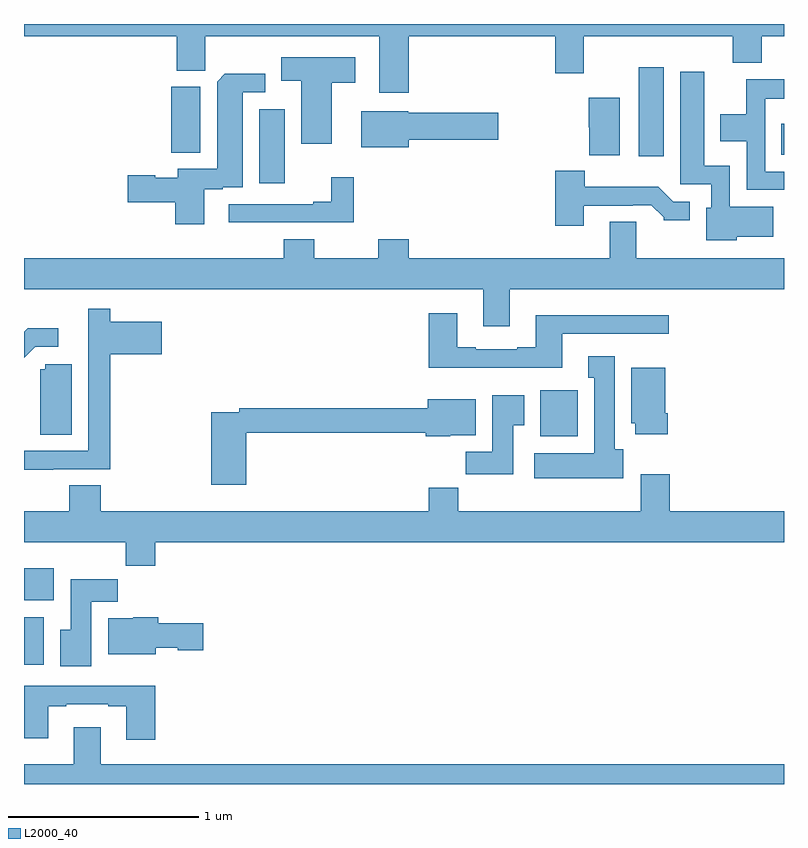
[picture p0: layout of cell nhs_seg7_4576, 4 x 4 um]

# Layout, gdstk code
import gdstk
lib = gdstk.Library(unit=1e-6, precision=1e-09)
def R(c, l, rs):  # rectangles x0, y0, x1, y1
    for r in rs: c.add(gdstk.rectangle(r[:2], r[2:], *l))
def P(c, l, *ps):  # polygons
    for p in ps: c.add(gdstk.Polygon(p, *l))
L2000_40 = (2000, 40)

nhs_seg7_4576 = lib.new_cell('nhs_seg7_4576')
R(nhs_seg7_4576, L2000_40, [(399,1010.628,399.103,1010.878), (399,1010.966,399.157,1011.136), (401.717,1011.83,401.914,1012.072), (400.238,1013.162,400.372,1013.551), (402.236,1013.304,402.367,1013.773), (402.985,1013.312,403,1013.476), (399.776,1013.323,399.928,1013.67)])
P(nhs_seg7_4576, L2000_40, [(401.024,1013.936),(401.795,1013.936),(401.795,1013.742),(401.947,1013.742),(401.947,1013.936),(402.731,1013.936),(402.731,1013.795),(402.883,1013.795),(402.883,1013.936),(403,1013.936),(403,1014),(399,1014),(399,1013.936),(399.803,1013.936),(399.803,1013.755),(399.953,1013.755),(399.953,1013.936),(400.871,1013.936),(400.871,1013.637),(401.024,1013.637)],
  [(400.621,1013.69),(400.744,1013.69),(400.744,1013.824),(400.354,1013.824),(400.354,1013.702),(400.46,1013.702),(400.46,1013.37),(400.621,1013.37)],
  [(402.75,1012.88),(402.943,1012.88),(402.943,1013.038),(402.714,1013.038),(402.714,1013.254),(402.58,1013.254),(402.58,1013.749),(402.455,1013.749),(402.455,1013.157),(402.618,1013.157),(402.618,1013.034),(402.59,1013.034),(402.59,1012.862),(402.75,1012.862)],
  [(399.949,1013.13),(400.046,1013.13),(400.046,1013.142),(400.15,1013.142),(400.15,1013.64),(400.269,1013.64),(400.269,1013.738),(400.057,1013.738),(400.016,1013.696),(400.016,1013.238),(399.809,1013.238),(399.809,1013.191),(399.692,1013.191),(399.692,1013.204),(399.546,1013.204),(399.546,1013.062),(399.797,1013.062),(399.797,1012.947),(399.949,1012.947)],
  [(403,1013.223),(402.9,1013.223),(402.9,1013.606),(403,1013.606),(403,1013.71),(402.802,1013.71),(402.802,1013.524),(402.665,1013.524),(402.665,1013.384),(402.804,1013.384),(402.804,1013.127),(403,1013.127)],
  [(402.136,1013.611),(401.972,1013.611),(401.972,1013.457),(401.974,1013.457),(401.974,1013.309),(402.136,1013.309)],
  [(401.026,1013.39),(401.497,1013.39),(401.497,1013.532),(401.022,1013.532),(401.022,1013.542),(400.775,1013.542),(400.775,1013.351),(401.026,1013.351)],
  [(401.947,1013.043),(402.203,1013.043),(402.203,1013.046),(402.302,1013.046),(402.366,1012.982),(402.366,1012.967),(402.505,1012.967),(402.505,1013.064),(402.417,1013.064),(402.339,1013.143),(401.95,1013.143),(401.95,1013.227),(401.795,1013.227),(401.795,1012.938),(401.947,1012.938)],
  [(400.736,1013.194),(400.618,1013.194),(400.618,1013.065),(400.523,1013.065),(400.523,1013.052),(400.077,1013.052),(400.077,1012.956),(400.736,1012.956)],
  [(401.557,1012.604),(403,1012.604),(403,1012.768),(402.223,1012.768),(402.223,1012.958),(402.083,1012.958),(402.083,1012.768),(401.024,1012.768),(401.024,1012.867),(400.864,1012.867),(400.864,1012.768),(400.527,1012.768),(400.527,1012.867),(400.367,1012.867),(400.367,1012.768),(399,1012.768),(399,1012.604),(401.417,1012.604),(401.417,1012.41),(401.557,1012.41)],
  [(399.155,1011.657),(399.455,1011.657),(399.455,1012.262),(399.724,1012.262),(399.724,1012.432),(399.455,1012.432),(399.455,1012.501),(399.338,1012.501),(399.338,1012.278),(399.339,1012.278),(399.339,1011.753),(399,1011.753),(399,1011.655),(399.155,1011.655)],
  [(401.833,1012.371),(402.394,1012.371),(402.394,1012.468),(401.693,1012.468),(401.693,1012.3),(401.597,1012.3),(401.597,1012.287),(401.377,1012.287),(401.377,1012.3),(401.281,1012.3),(401.281,1012.477),(401.129,1012.477),(401.129,1012.19),(401.833,1012.19)],
  [(399.06,1012.302),(399.181,1012.302),(399.181,1012.399),(399.019,1012.399),(399,1012.38),(399,1012.243)],
  [(402.154,1011.762),(402.109,1011.762),(402.109,1012.252),(401.969,1012.252),(401.969,1012.139),(402.002,1012.139),(402.002,1011.742),(401.685,1011.742),(401.685,1011.608),(402.154,1011.608)],
  [(399.25,1012.209),(399.111,1012.209),(399.111,1012.182),(399.086,1012.182),(399.086,1011.838),(399.25,1011.838)],
  [(402.389,1011.952),(402.376,1011.952),(402.376,1012.192),(402.197,1012.192),(402.197,1011.9),(402.218,1011.9),(402.218,1011.84),(402.389,1011.84)],
  [(401.575,1011.889),(401.632,1011.889),(401.632,1012.045),(401.465,1012.045),(401.465,1011.748),(401.326,1011.748),(401.326,1011.63),(401.575,1011.63)],
  [(400.169,1011.849),(401.114,1011.849),(401.114,1011.83),(401.244,1011.83),(401.244,1011.836),(401.377,1011.836),(401.377,1012.024),(401.126,1012.024),(401.126,1011.977),(400.132,1011.977),(400.132,1011.957),(399.986,1011.957),(399.986,1011.576),(400.169,1011.576)],
  [(399.692,1011.272),(403,1011.272),(403,1011.436),(402.398,1011.436),(402.398,1011.631),(402.245,1011.631),(402.245,1011.436),(401.285,1011.436),(401.285,1011.56),(401.129,1011.56),(401.129,1011.436),(399.404,1011.436),(399.404,1011.572),(399.239,1011.572),(399.239,1011.436),(399,1011.436),(399,1011.272),(399.535,1011.272),(399.535,1011.148),(399.692,1011.148)],
  [(399.355,1010.96),(399.494,1010.96),(399.494,1011.078),(399.245,1011.078),(399.245,1010.812),(399.191,1010.812),(399.191,1010.619),(399.355,1010.619)],
  [(399.694,1010.717),(399.81,1010.717),(399.81,1010.705),(399.943,1010.705),(399.943,1010.847),(399.707,1010.847),(399.707,1010.878),(399.576,1010.878),(399.576,1010.872),(399.443,1010.872),(399.443,1010.684),(399.694,1010.684)],
  [(399.692,1010.518),(399.451,1010.518),(399.451,1010.517),(399,1010.517),(399,1010.24),(399.127,1010.24),(399.127,1010.409),(399.223,1010.409),(399.223,1010.421),(399.443,1010.421),(399.443,1010.409),(399.539,1010.409),(399.539,1010.232),(399.692,1010.232)],
  [(403,1010.104),(399.403,1010.104),(399.403,1010.299),(399.263,1010.299),(399.263,1010.104),(399,1010.104),(399,1010),(403,1010)])

lib.write_gds('nhs_seg7_4576.gds')
